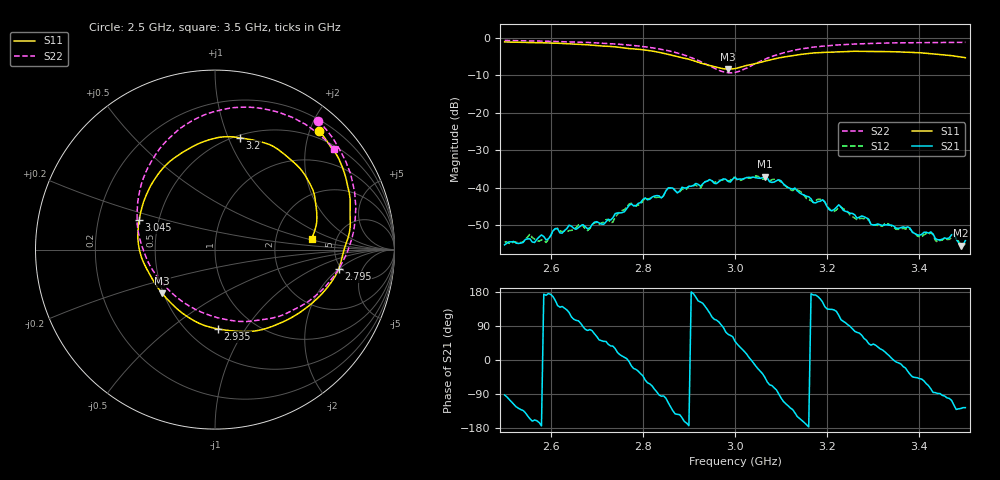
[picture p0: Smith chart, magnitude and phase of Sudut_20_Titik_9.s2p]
# Hz S RI R 50
! CMT, C1220, 16058040, 17.2.0/1
! Date: 15/08/2018 09:44:57
! Data: Format (Calibration Info)
! Freq  S11: Re/Im (F2)  S21: Re/Im (F2)  S12: Re/Im (F2)  S22: Re/Im (F2)
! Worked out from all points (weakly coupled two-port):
!   201 points, 2.5 GHz to 3.5 GHz, reference 50 ohm
!   highest |S21| = -37.03 dB at 3.065 GHz (marker M1); lowest = -55.4 dB at 3.49 GHz (marker M2)
!   lowest |S11| = -8.4 dB at 2.985 GHz (marker M3), VSWR 2.24, Z = 24.6 - j14.1 ohm
!   |S11| at or under -10 dB: nowhere
!   |S22| runs from -9.4 to -0.7 dB; largest |S21 - S12| = 0.0012
!   S11 on the Smith chart (normalised r, x): 2.5 GHz: 0.37, +2.16; 2.795 GHz: 4.73, -1.99; 2.935 GHz: 0.69, -0.76; 3.045 GHz: 0.39, +0.16; 3.2 GHz: 0.53, +1.11; 3.5 GHz: 3.27, +0.54
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2.5e9  0.5815 0.659  -7.08e-05 -0.00175  -7.47e-05 -0.00192  0.5741 0.7184
2.555e9  0.644 0.5735  -0.0019 -0.000891  -0.00217 -0.00111  0.6349 0.6498
2.59e9  0.6885 0.5084  -0.00201 0.000331  -0.00188 9.89e-05  0.6713 0.5972
2.61e9  0.7052 0.469  -0.00265 0.00112  -0.00265 0.00108  0.6912 0.5632
2.67e9  0.7483 0.3154  9.71e-05 0.00324  0.000303 0.00312  0.7466 0.446
2.735e9  0.752 0.1165  0.00322 0.00239  0.00283 0.00205  0.7812 0.2778
2.77e9  0.7172 -0.00659  0.00582 -0.000418  0.00607 -0.000596  0.7808 0.1662
2.795e9  0.6887 -0.1084  0.00517 -0.00376  0.0049 -0.00358  0.7665 0.0774
2.835e9  0.5862 -0.2562  -0.000278 -0.00785  -1.85e-05 -0.00754  0.7045 -0.0798
2.935e9  0.0174 -0.4424  -0.00943 0.0075  -0.00982 0.00711  0.2132 -0.3973
2.985e9  -0.2941 -0.2443  0.00461 0.0113  0.00426 0.0117  -0.1792 -0.2917
3e9  -0.3603 -0.1443  0.00902 0.0104  0.00971 0.00992  -0.2778 -0.2038
3.045e9  -0.4226 0.1649  0.0132 -0.00372  0.0139 -0.00379  -0.4332 0.1398
3.065e9  -0.3855 0.2986  0.00975 -0.0101  0.00911 -0.00946  -0.4261 0.2948
3.17e9  0.0251 0.6258  -0.00631 0.000921  -0.00642 0.000348  -0.0704 0.746
3.2e9  0.1404 0.6224  -0.00393 0.00398  -0.00383 0.00414  0.0429 0.7803
3.335e9  0.4873 0.4348  0.00313 0.000601  0.00323 0.000417  0.416 0.7423
3.425e9  0.5627 0.2421  0.000622 -0.00252  0.00062 -0.00245  0.5708 0.6494
3.44e9  0.567 0.2024  5.38e-05 -0.00204  8.96e-05 -0.0019  0.5926 0.6314
3.475e9  0.5592 0.1177  -0.00117 -0.00213  -0.00109 -0.00209  0.6352 0.5909
3.49e9  0.5472 0.0809  -0.00105 -0.00134  -0.00117 -0.00131  0.6525 0.572
3.5e9  0.5389 0.0581  -0.00117 -0.00163  -0.00115 -0.00142  0.6639 0.5596
